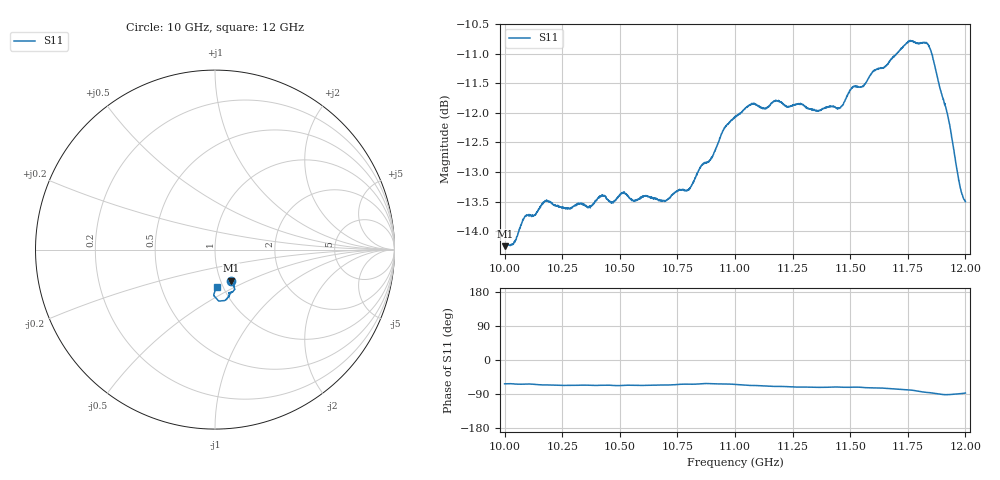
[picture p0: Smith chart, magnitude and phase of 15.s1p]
[Version] 2.0
! Rohde & Schwarz Vector Network Analyzer
! Rohde-Schwarz,ZNL20-2Port,1323001220200009,1.71.1.10-23.02.1.238
! Port Assignments:
! Nominal Port -> Actual Test Port
!  1 -> 1
! Created: GMT 2024-09-04 14:21:39
# Hz S DB R 50
[Number of Ports] 1
! freq[Hz]  S11[mag dB]  S11[ang]
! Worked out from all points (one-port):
!   2001 points, 10 GHz to 12 GHz, reference 50 ohm
!   lowest |S11| = -14.3 dB at 10 GHz (marker M1), VSWR 1.48, Z = 55.9 - j20 ohm
!   |S11| at or under -10 dB: start of sweep to end of sweep
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[Number of Frequencies] 28
[Network Data]
1e10  -14.25 -62.8
1.0001e10  -14.25 -62.8
1.004e10  -14.21 -63.0
1.0087e10  -13.76 -63.6
1.0131e10  -13.73 -64.3
1.0173e10  -13.51 -65.9
1.025e10  -13.59 -66.9
1.0371e10  -13.59 -66.7
1.0423e10  -13.38 -66.6
1.0468e10  -13.52 -67.0
1.05e10  -13.38 -67.4
1.0692e10  -13.48 -65.9
1.075e10  -13.33 -64.7
1.0804e10  -13.27 -63.8
1.0873e10  -12.85 -62.1
1.0903e10  -12.74 -62.6
1.0956e10  -12.24 -63.2
1.1e10  -12.06 -64.4
1.1074e10  -11.84 -67.2
1.125e10  -11.87 -71.2
1.1449e10  -11.92 -71.4
1.15e10  -11.61 -72.0
1.1632e10  -11.24 -74.0
1.175e10  -10.80 -78.7
1.1847e10  -10.92 -86.3
1.1914e10  -11.89 -91.5
1.1975e10  -13.21 -88.9
1.2e10  -13.50 -87.1
[End]
